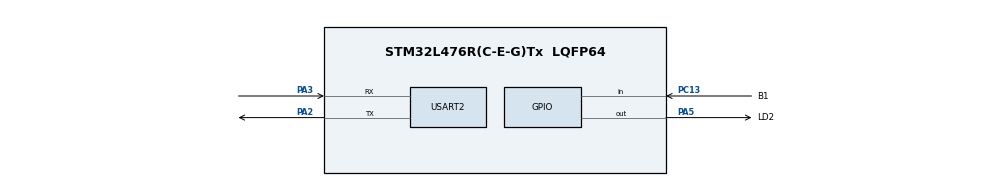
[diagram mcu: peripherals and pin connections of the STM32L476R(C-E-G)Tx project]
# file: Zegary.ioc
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IWDG.Prescaler=IWDG_PRESCALER_32
Mcu.Family=STM32L4
Mcu.Name=STM32L476R(C-E-G)Tx
Mcu.Package=LQFP64
NVIC.PriorityGroup=NVIC_PRIORITYGROUP_4
PA13\ (JTMS-SWDIO).Mode=Serial_Wire
PA13\ (JTMS-SWDIO).Signal=SYS_JTMS-SWDIO
PA14\ (JTCK-SWCLK).Mode=Serial_Wire
PA14\ (JTCK-SWCLK).Signal=SYS_JTCK-SWCLK
PA2.Mode=Asynchronous
PA2.Signal=USART2_TX
PA3.Mode=Asynchronous
PA3.Signal=USART2_RX
PA5.GPIO_Label=LD2
PA5.Signal=GPIO_Output
PC13.GPIO_Label=B1
PC13.Signal=GPIO_Input
ProjectManager.HeapSize=0x200
ProjectManager.StackSize=0x400
ProjectManager.TargetToolchain=STM32CubeIDE
RCC.HSE_VALUE=8000000
RCC.HSI_VALUE=16000000
RCC.LSE_VALUE=32768
RCC.MSI_VALUE=4000000
RCC.VCOOutputFreq_Value=32000000
USART2.VirtualMode-Asynchronous=VM_ASYNC
VP_IWDG_VS_IWDG.Mode=IWDG_Activate
VP_RTC_VS_RTC_Activate.Mode=RTC_Enabled
board=custom

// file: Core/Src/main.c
/* USER CODE BEGIN Header */
/**
  ******************************************************************************
  * @file           : main.c
  * @brief          : Main program body
  ******************************************************************************
  * @attention
  *
  * Copyright (c) 2021 STMicroelectronics.
  * All rights reserved.
  *
  * This software is licensed under terms that can be found in the LICENSE file
  * in the root directory of this software component.
  * If no LICENSE file comes with this software, it is provided AS-IS.
  *
  ******************************************************************************
  */
/* USER CODE END Header */
#include "main.h"
#include "iwdg.h"
#include "rtc.h"
#include "usart.h"
#include "gpio.h"

/* USER CODE BEGIN Includes */
#include <stdio.h>
#include <string.h>
#include <stdbool.h>
/* USER CODE END Includes */

void SystemClock_Config(void);

/* USER CODE BEGIN 0 */

int __io_putchar(int ch)
{

	if(ch == '\n')
	{
		uint8_t ch2 = '\r';
		HAL_UART_Transmit(&huart2, (uint8_t*)&ch2, 1, HAL_MAX_DELAY);
	}
	HAL_UART_Transmit(&huart2, (uint8_t*)&ch, 1, HAL_MAX_DELAY);
	return 1;
}

bool is_button_pressed(void)
{

	if(HAL_GPIO_ReadPin(B1_GPIO_Port, B1_Pin) == GPIO_PIN_RESET)
	{
		return true;
	}else{
		return false;
	}
}
/* USER CODE END 0 */

int main(void)
{
  /* USER CODE BEGIN 1 */
HAL_StatusTypeDef HAL_RTC_GetTime(RTC_HandleTypeDef *hrtc, RTC_TimeTypeDef *sTime, uint32_t Format);
HAL_StatusTypeDef HAL_RTC_GetDate(RTC_HandleTypeDef *hrtc, RTC_DateTypeDef *sDate, uint32_t Format);
  /* USER CODE END 1 */

  /* MCU Configuration--------------------------------------------------------*/

  /* Reset of all peripherals, Initializes the Flash interface and the Systick. */
  HAL_Init();

  /* Configure the system clock */
  SystemClock_Config();

  /* Initialize all configured peripherals */
  MX_GPIO_Init();
  MX_RTC_Init();
  MX_USART2_UART_Init();
  MX_IWDG_Init();
  /* USER CODE BEGIN 2 */
printf("Udalo sie!\n");
  /* USER CODE END 2 */

  /* Infinite loop */
  /* USER CODE BEGIN WHILE */

RTC_TimeTypeDef time;
RTC_DateTypeDef date;

uint32_t last_ms = HAL_GetTick();

  while (1)
  {
	  uint32_t now = HAL_GetTick();

	  if(is_button_pressed()){
		  while(1){

		  }
	  }

	if(now - last_ms >= 500){

		HAL_GPIO_TogglePin(LD2_GPIO_Port, LD2_Pin);
		last_ms = now;

		HAL_IWDG_Refresh(&hiwdg);
	}

	 /* HAL_RTC_GetTime(&hrtc, &time, RTC_FORMAT_BIN);
	  HAL_RTC_GetDate(&hrtc, &date, RTC_FORMAT_BIN);

	  printf("Aktualny czas: %02d:%02d:%02d\n", time.Hours, time.Minutes, time.Seconds);
	  HAL_Delay(200);*/
    /* USER CODE END WHILE */

  }
}

void SystemClock_Config(void)
{
  RCC_OscInitTypeDef RCC_OscInitStruct = {0};
  RCC_ClkInitTypeDef RCC_ClkInitStruct = {0};

  /** Configure the main internal regulator output voltage
  */
  if (HAL_PWREx_ControlVoltageScaling(PWR_REGULATOR_VOLTAGE_SCALE1) != HAL_OK)
  {
    Error_Handler();
  }
  /** Initializes the RCC Oscillators according to the specified parameters
  * in the RCC_OscInitTypeDef structure.
  */
  RCC_OscInitStruct.OscillatorType = RCC_OSCILLATORTYPE_LSI|RCC_OSCILLATORTYPE_MSI;
  RCC_OscInitStruct.LSIState = RCC_LSI_ON;
  RCC_OscInitStruct.MSIState = RCC_MSI_ON;
  RCC_OscInitStruct.MSICalibrationValue = 0;
  RCC_OscInitStruct.MSIClockRange = RCC_MSIRANGE_6;
  RCC_OscInitStruct.PLL.PLLState = RCC_PLL_NONE;
  if (HAL_RCC_OscConfig(&RCC_OscInitStruct) != HAL_OK)
  {
    Error_Handler();
  }
  /** Initializes the CPU, AHB and APB buses clocks
  */
  RCC_ClkInitStruct.ClockType = RCC_CLOCKTYPE_HCLK|RCC_CLOCKTYPE_SYSCLK
                              |RCC_CLOCKTYPE_PCLK1|RCC_CLOCKTYPE_PCLK2;
  RCC_ClkInitStruct.SYSCLKSource = RCC_SYSCLKSOURCE_MSI;
  RCC_ClkInitStruct.AHBCLKDivider = RCC_SYSCLK_DIV1;
  RCC_ClkInitStruct.APB1CLKDivider = RCC_HCLK_DIV1;
  RCC_ClkInitStruct.APB2CLKDivider = RCC_HCLK_DIV1;

  if (HAL_RCC_ClockConfig(&RCC_ClkInitStruct, FLASH_LATENCY_0) != HAL_OK)
  {
    Error_Handler();
  }
}

void Error_Handler(void)
{
  __disable_irq();
  while (1)
  {
  }
}
